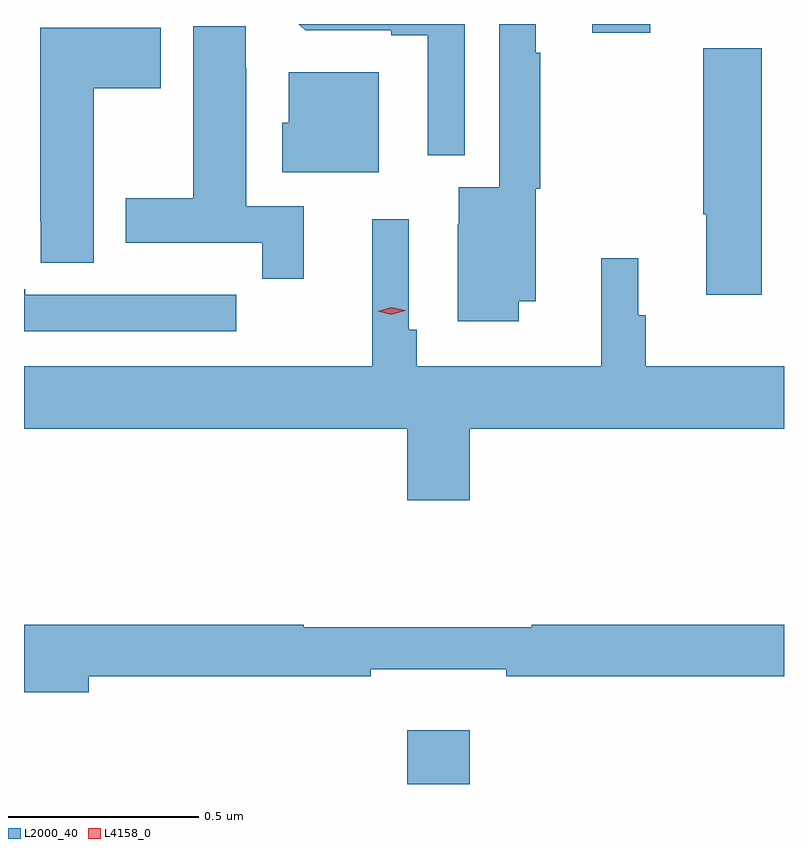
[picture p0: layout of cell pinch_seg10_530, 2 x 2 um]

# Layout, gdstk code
import gdstk
lib = gdstk.Library(unit=1e-6, precision=1e-09)
def R(c, l, rs):  # rectangles x0, y0, x1, y1
    for r in rs: c.add(gdstk.rectangle(r[:2], r[2:], *l))
def P(c, l, *ps):  # polygons
    for p in ps: c.add(gdstk.Polygon(p, *l))
L2000_40 = (2000, 40)
L4158_0 = (4158, 0)

pinch_seg10_530 = lib.new_cell('pinch_seg10_530')
R(pinch_seg10_530, L2000_40, [(188.984,1292.721,189.148,1292.863), (189.47,1294.698,189.623,1294.721)])
P(pinch_seg10_530, L2000_40, [(189.277,1293.992),(189.322,1293.992),(189.322,1294.287),(189.334,1294.287),(189.334,1294.646),(189.322,1294.646),(189.322,1294.721),(189.225,1294.721),(189.225,1294.291),(189.119,1294.291),(189.119,1294.194),(189.116,1294.194),(189.116,1293.939),(189.277,1293.939)],
  [(189.135,1294.721),(188.698,1294.721),(188.715,1294.704),(188.942,1294.704),(188.942,1294.692),(189.038,1294.692),(189.038,1294.376),(189.135,1294.376)],
  [(188.711,1294.242),(188.56,1294.242),(188.56,1294.604),(188.559,1294.604),(188.559,1294.715),(188.42,1294.715),(188.42,1294.263),(188.243,1294.263),(188.243,1294.146),(188.602,1294.146),(188.602,1294.05),(188.711,1294.05)],
  [(188.158,1294.552),(188.335,1294.552),(188.335,1294.711),(188.018,1294.711),(188.018,1294.201),(188.019,1294.201),(188.019,1294.093),(188.158,1294.093)],
  [(189.917,1294.657),(189.763,1294.657),(189.763,1294.22),(189.77,1294.22),(189.77,1294.008),(189.917,1294.008)],
  [(188.908,1294.594),(188.672,1294.594),(188.672,1294.461),(188.654,1294.461),(188.654,1294.331),(188.908,1294.331)],
  [(189.148,1293.656),(189.975,1293.656),(189.975,1293.82),(189.611,1293.82),(189.611,1293.954),(189.592,1293.954),(189.592,1294.105),(189.494,1294.105),(189.494,1293.82),(189.008,1293.82),(189.008,1293.916),(188.988,1293.916),(188.988,1294.207),(188.891,1294.207),(188.891,1293.82),(187.975,1293.82),(187.975,1293.656),(188.984,1293.656),(188.984,1293.468),(189.148,1293.468)],
  [(188.533,1294.008),(188.42,1294.008),(188.42,1294.009),(188.254,1294.009),(188.254,1294.008),(187.978,1294.008),(187.978,1294.023),(187.975,1294.023),(187.975,1293.912),(188.533,1293.912)],
  [(188.146,1293.004),(188.888,1293.004),(188.888,1293.023),(189.244,1293.023),(189.244,1293.004),(189.975,1293.004),(189.975,1293.14),(189.311,1293.14),(189.311,1293.133),(188.711,1293.133),(188.711,1293.14),(187.975,1293.14),(187.975,1292.962),(188.146,1292.962)])
P(pinch_seg10_530, L4158_0, [(188.942,1293.956),(188.906,1293.965),(188.906,1293.965),(188.906,1293.965),(188.942,1293.976),(188.978,1293.968),(188.978,1293.967),(188.978,1293.967)])

lib.write_gds('pinch_seg10_530.gds')
